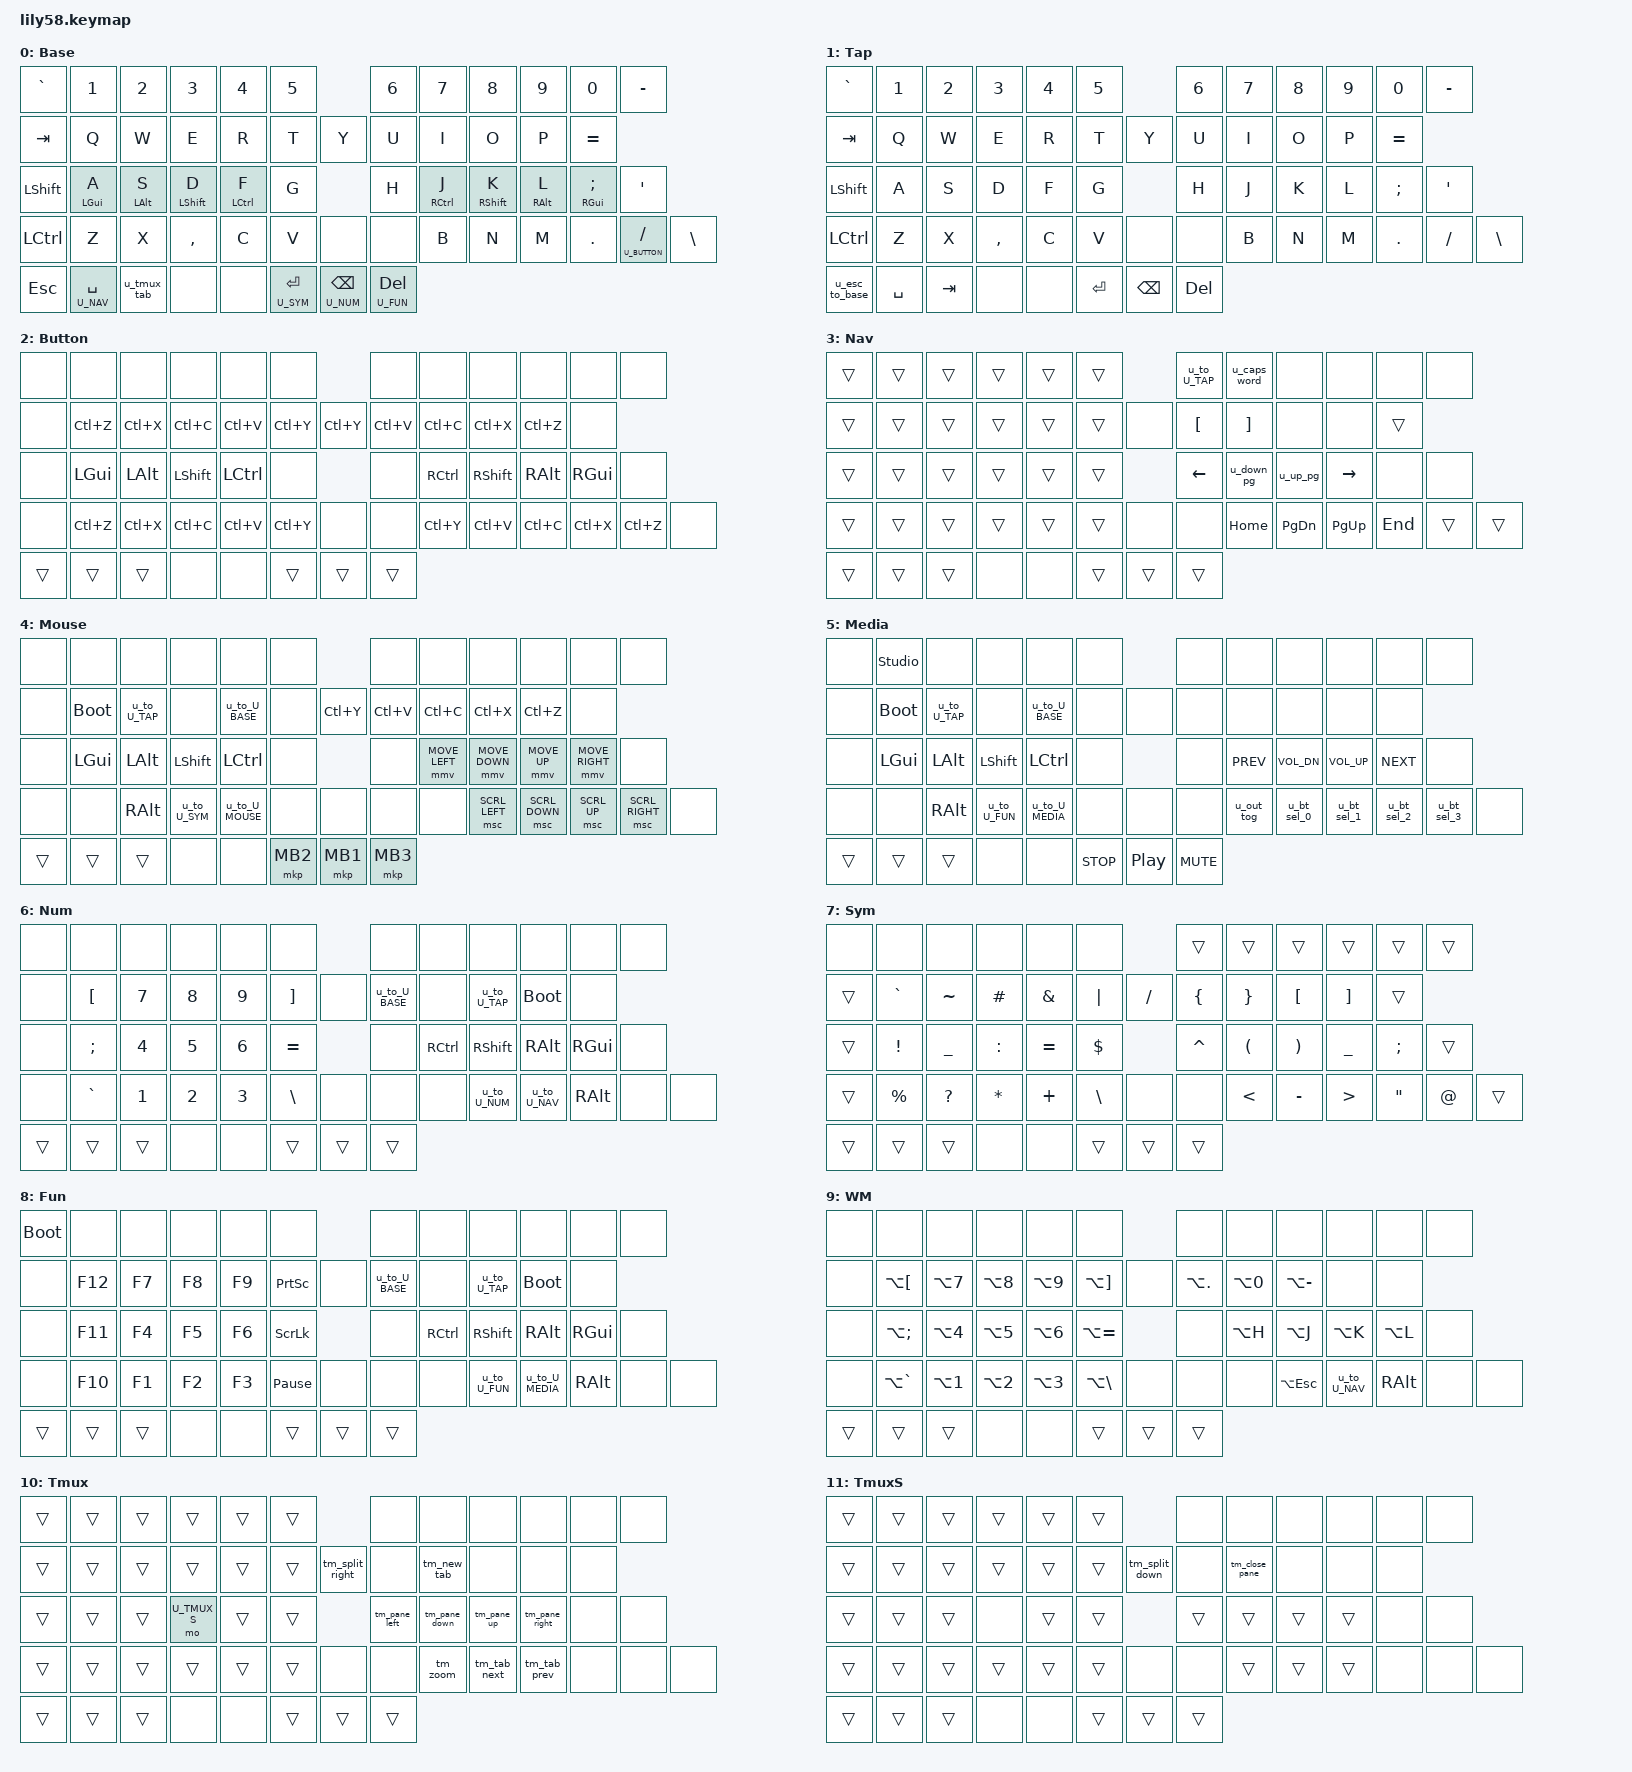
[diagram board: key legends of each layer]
/*
 * Silakka54 (built as the upstream ZMK lily58 shield) — QWERTY, GASC
 * home-row mods. Mirrors config/eyelash_sofle.keymap: same layers 0–11 at
 * the same indices (including TMUX_S), same behaviors and macros, same
 * bindings wherever the key exists on this board.
 *
 * lily58 matrix, 58 positions per layer:
 *   Rows 0–2: 6 left + 6 right = 12
 *   Row 3:    6 left + 2 inner + 6 right = 14
 *   Row 4:    4 left thumbs + 4 right thumbs = 8
 * Silakka54 has 54 keys. The 2 inner row-3 keys and the innermost thumb on
 * each side are not fitted, so those 4 slots are &none on every layer.
 *
 * Thumbs, left outer→inner, then right inner→outer:
 *   Esc, Space/Nav, Tab/Tmux, (missing) | (missing), Enter/Sym, Backspace/Num, Del/Fun
 *
 * Tradeoffs against the Sofle (64 keys, encoder, 5-way hat, 5 thumbs a side):
 *   - Hat column (arrows on Base/Tap, mouse move on Mouse/Eye*, hat click):
 *     dropped. Arrows are on Nav (hold Space); mouse movement is on Mouse.
 *   - Encoder (click = mute, rotate = volume, scroll on Mouse): dropped.
 *     Volume is on Media's right home row; Media's right thumbs are
 *     Stop / Play-Pause / Mute (from the old Lily58 keymap).
 *   - Two spare (&none) left outer thumbs: dropped. Esc, Space/Nav and
 *     Tab/Tmux keep their Sofle order on the three fitted left thumbs.
 *   - Eyelash 1 / Eyelash 2 thumbs and Sofle layers 12–13 (vendor F-keys, RGB,
 *     mouse clicks, BT, reset): dropped; this board has no thumb for them
 *     and no RGB. F-keys are on Fun, BT/output on Media, bootloader on
 *     Fun/Num/Mouse/Media.
 *   - Mouse clicks came from the Eyelash layers on the Sofle. Here Mouse's
 *     right thumbs are Button 2 / Button 1 / Button 3 (from the old Lily58
 *     keymap) so the mouse layer is usable without them.
 *   - No sensor-bindings on any layer (no encoder enabled on this build).
 *
 * TMUX layer (hold Tab): every action is the Ctrl-b prefix plus a key —
 * H/J/K/L panes (prefix+arrows), Y split right, I new tab, B zoom, N/M next/previous tab.
 * Hold home-row D while on TMUX, or hold D then Tab, for TMUX_S
 * (Y split down, I close pane). Base D+Tab tap remains Shift+Tab.
 *
 * Clipboard macros send Ctrl.
 */

#include <behaviors.dtsi>
#include <behaviors/mouse_keys.dtsi>
#include <dt-bindings/zmk/keys.h>
#include <dt-bindings/zmk/bt.h>
#include <dt-bindings/zmk/outputs.h>
#include <dt-bindings/zmk/pointing.h>

/* ── Layer indices ─────────────────────────────────────────────── */
#define U_BASE   0
#define U_TAP    1
#define U_BUTTON 2
#define U_NAV    3
#define U_MOUSE  4
#define U_MEDIA  5
#define U_NUM    6
#define U_SYM    7
#define U_FUN    8
#define U_WM     9
#define U_TMUX   10
#define U_TMUX_S 11

/* ── Mouse defaults ────────────────────────────────────────────── */
#define ZMK_POINTING_DEFAULT_MOVE_VAL 1250
#define ZMK_POINTING_DEFAULT_SCRL_VAL 100

/* ── Clipboard (Windows) ───────────────────────────────────────── */
#define U_RDO &kp LC(Y)
#define U_PST &kp LC(V)
#define U_CPY &kp LC(C)
#define U_CUT &kp LC(X)
#define U_UND &kp LC(Z)

/* ── Mouse key aliases ─────────────────────────────────────────── */
#define U_BTN1 &mkp MB1
#define U_BTN2 &mkp MB2
#define U_BTN3 &mkp MB3
#define U_MS_D &mmv MOVE_DOWN
#define U_MS_L &mmv MOVE_LEFT
#define U_MS_R &mmv MOVE_RIGHT
#define U_MS_U &mmv MOVE_UP
#define U_WH_D &msc SCRL_DOWN
#define U_WH_L &msc SCRL_LEFT
#define U_WH_R &msc SCRL_RIGHT
#define U_WH_U &msc SCRL_UP

/* ── Mouse movement tuning ─────────────────────────────────────── */
&mmv {
    acceleration-exponent = <1>;
    time-to-max-speed-ms = <1500>;
    delay-ms = <0>;
};

/* ── Macros ────────────────────────────────────────────────────── */
/ {
    macros {
        u_macro_u_bt_sel_0: u_macro_u_bt_sel_0 {
            compatible = "zmk,behavior-macro";
            #binding-cells = <0>;
            wait-ms = <0>;
            bindings = <&bt BT_SEL 0 &bt BT_CLR>;
        };
        u_macro_u_bt_sel_1: u_macro_u_bt_sel_1 {
            compatible = "zmk,behavior-macro";
            #binding-cells = <0>;
            wait-ms = <0>;
            bindings = <&bt BT_SEL 1 &bt BT_CLR>;
        };
        u_macro_u_bt_sel_2: u_macro_u_bt_sel_2 {
            compatible = "zmk,behavior-macro";
            #binding-cells = <0>;
            wait-ms = <0>;
            bindings = <&bt BT_SEL 2 &bt BT_CLR>;
        };
        u_macro_u_bt_sel_3: u_macro_u_bt_sel_3 {
            compatible = "zmk,behavior-macro";
            #binding-cells = <0>;
            wait-ms = <0>;
            bindings = <&bt BT_SEL 3 &bt BT_CLR>;
        };
        u_macro_u_bt_sel_4: u_macro_u_bt_sel_4 {
            compatible = "zmk,behavior-macro";
            #binding-cells = <0>;
            wait-ms = <0>;
            bindings = <&bt BT_SEL 4 &bt BT_CLR>;
        };

        /* TMUX layer — tmux actions. Every binding is the Ctrl-b prefix plus
           one key, sent as two separate taps: tmux wants the prefix RELEASED
           before the action key, so these must never be a three-key chord.
           40/40 is a starting point — if the prefix is swallowed, raise it
           (80–120). */
        /* Pane focus: prefix+arrows (LEFT/DOWN/UP/RIGHT). Physical H/J/K/L. */
        tm_pane_left: tm_pane_left {
            compatible = "zmk,behavior-macro";
            #binding-cells = <0>;
            wait-ms = <40>;
            tap-ms = <40>;
            bindings = <&kp LC(B) &kp LEFT>;
        };
        tm_pane_down: tm_pane_down {
            compatible = "zmk,behavior-macro";
            #binding-cells = <0>;
            wait-ms = <40>;
            tap-ms = <40>;
            bindings = <&kp LC(B) &kp DOWN>;
        };
        tm_pane_up: tm_pane_up {
            compatible = "zmk,behavior-macro";
            #binding-cells = <0>;
            wait-ms = <40>;
            tap-ms = <40>;
            bindings = <&kp LC(B) &kp UP>;
        };
        tm_pane_right: tm_pane_right {
            compatible = "zmk,behavior-macro";
            #binding-cells = <0>;
            wait-ms = <40>;
            tap-ms = <40>;
            bindings = <&kp LC(B) &kp RIGHT>;
        };
        /* Split right: prefix+% (tmux default; % is Shift+5, LS(N5)). */
        tm_split_right: tm_split_right {
            compatible = "zmk,behavior-macro";
            #binding-cells = <0>;
            wait-ms = <40>;
            tap-ms = <40>;
            bindings = <&kp LC(B) &kp LS(N5)>;
        };
        /* Split down: prefix+" (tmux default; " is Shift+', LS(SQT)). LS is pressed by the macro itself. */
        tm_split_down: tm_split_down {
            compatible = "zmk,behavior-macro";
            #binding-cells = <0>;
            wait-ms = <40>;
            tap-ms = <40>;
            bindings = <&kp LC(B) &kp LS(SQT)>;
        };
        /* New tab: prefix+c. */
        tm_new_tab: tm_new_tab {
            compatible = "zmk,behavior-macro";
            #binding-cells = <0>;
            wait-ms = <40>;
            tap-ms = <40>;
            bindings = <&kp LC(B) &kp C>;
        };
        /* Close pane: prefix+x. */
        tm_close_pane: tm_close_pane {
            compatible = "zmk,behavior-macro";
            #binding-cells = <0>;
            wait-ms = <40>;
            tap-ms = <40>;
            bindings = <&kp LC(B) &kp X>;
        };
        /* Zoom pane: prefix+z. */
        tm_zoom: tm_zoom {
            compatible = "zmk,behavior-macro";
            #binding-cells = <0>;
            wait-ms = <40>;
            tap-ms = <40>;
            bindings = <&kp LC(B) &kp Z>;
        };
        /* Next tab: prefix+n. */
        tm_tab_next: tm_tab_next {
            compatible = "zmk,behavior-macro";
            #binding-cells = <0>;
            wait-ms = <40>;
            tap-ms = <40>;
            bindings = <&kp LC(B) &kp N>;
        };
        /* Previous tab: prefix+p. */
        tm_tab_prev: tm_tab_prev {
            compatible = "zmk,behavior-macro";
            #binding-cells = <0>;
            wait-ms = <40>;
            tap-ms = <40>;
            bindings = <&kp LC(B) &kp P>;
        };
    };
};

/* ── Behaviors ─────────────────────────────────────────────────── */
/ {
    behaviors {
        /* Home-row mods. Balanced: hold if other key pressed+released while held; alone timeout still hold. */
        u_mt: u_mt {
            compatible = "zmk,behavior-hold-tap";
            #binding-cells = <2>;
            tapping-term-ms = <250>;
            require-prior-idle-ms = <120>;
            flavor = "balanced";
            bindings = <&kp>, <&kp>;
        };

        /* Hold = momentary layer, tap = key. */
        u_lt: u_lt {
            compatible = "zmk,behavior-hold-tap";
            #binding-cells = <2>;
            tapping-term-ms = <250>;
            require-prior-idle-ms = <120>;
            flavor = "tap-preferred";
            bindings = <&mo>, <&kp>;
        };

        /* Tab/TMUX entry. Unshifted: hold TMUX, tap Tab. With Shift already
           held: hold TMUX_S (Shift masked for the hold), tap Shift+Tab via
           LS(TAB). No keep-mods — masking is required to stop D-then-Tab-hold
           from leaking LSHFT into Ctrl-b macros. */
        u_tmux_tab: u_tmux_tab {
            compatible = "zmk,behavior-mod-morph";
            #binding-cells = <0>;
            bindings = <&u_lt U_TMUX TAB>, <&u_lt U_TMUX_S LS(TAB)>;
            mods = <(MOD_LSFT|MOD_RSFT)>;
        };

        u_bt_sel_0: u_bt_sel_0 {
            compatible = "zmk,behavior-mod-morph";
            #binding-cells = <0>;
            bindings = <&bt BT_SEL 0>, <&u_macro_u_bt_sel_0>;
            mods = <(MOD_LSFT|MOD_RSFT)>;
        };
        u_bt_sel_1: u_bt_sel_1 {
            compatible = "zmk,behavior-mod-morph";
            #binding-cells = <0>;
            bindings = <&bt BT_SEL 1>, <&u_macro_u_bt_sel_1>;
            mods = <(MOD_LSFT|MOD_RSFT)>;
        };
        u_bt_sel_2: u_bt_sel_2 {
            compatible = "zmk,behavior-mod-morph";
            #binding-cells = <0>;
            bindings = <&bt BT_SEL 2>, <&u_macro_u_bt_sel_2>;
            mods = <(MOD_LSFT|MOD_RSFT)>;
        };
        u_bt_sel_3: u_bt_sel_3 {
            compatible = "zmk,behavior-mod-morph";
            #binding-cells = <0>;
            bindings = <&bt BT_SEL 3>, <&u_macro_u_bt_sel_3>;
            mods = <(MOD_LSFT|MOD_RSFT)>;
        };
        u_bt_sel_4: u_bt_sel_4 {
            compatible = "zmk,behavior-mod-morph";
            #binding-cells = <0>;
            bindings = <&bt BT_SEL 4>, <&u_macro_u_bt_sel_4>;
            mods = <(MOD_LSFT|MOD_RSFT)>;
        };

        u_out_tog: u_out_tog {
            compatible = "zmk,behavior-mod-morph";
            #binding-cells = <0>;
            bindings = <&out OUT_TOG>, <&out OUT_USB>;
            mods = <(MOD_LSFT|MOD_RSFT)>;
        };

        u_caps_word: u_caps_word {
            compatible = "zmk,behavior-mod-morph";
            #binding-cells = <0>;
            bindings = <&caps_word>, <&kp CAPS>;
            mods = <(MOD_LSFT|MOD_RSFT)>;
        };

        /* Up, or Page Up while Alt is held (Alt is not sent). */
        u_up_pg: u_up_pg {
            compatible = "zmk,behavior-mod-morph";
            #binding-cells = <0>;
            bindings = <&kp UP>, <&kp PG_UP>;
            mods = <(MOD_LALT|MOD_RALT)>;
        };
        /* Down, or Page Down while Alt is held (Alt is not sent). */
        u_down_pg: u_down_pg {
            compatible = "zmk,behavior-mod-morph";
            #binding-cells = <0>;
            bindings = <&kp DOWN>, <&kp PG_DN>;
            mods = <(MOD_LALT|MOD_RALT)>;
        };

        /* Double-tap guards: require a second tap to lock a layer. */
        u_to_U_BASE: u_to_U_BASE {
            compatible = "zmk,behavior-tap-dance";
            #binding-cells = <0>;
            tapping-term-ms = <200>;
            bindings = <&none>, <&to U_BASE>;
        };
        u_to_U_TAP: u_to_U_TAP {
            compatible = "zmk,behavior-tap-dance";
            #binding-cells = <0>;
            tapping-term-ms = <200>;
            bindings = <&none>, <&to U_TAP>;
        };
        u_to_U_BUTTON: u_to_U_BUTTON {
            compatible = "zmk,behavior-tap-dance";
            #binding-cells = <0>;
            tapping-term-ms = <200>;
            bindings = <&none>, <&to U_BUTTON>;
        };
        u_to_U_NAV: u_to_U_NAV {
            compatible = "zmk,behavior-tap-dance";
            #binding-cells = <0>;
            tapping-term-ms = <200>;
            bindings = <&none>, <&to U_NAV>;
        };
        u_to_U_MOUSE: u_to_U_MOUSE {
            compatible = "zmk,behavior-tap-dance";
            #binding-cells = <0>;
            tapping-term-ms = <200>;
            bindings = <&none>, <&to U_MOUSE>;
        };
        u_to_U_MEDIA: u_to_U_MEDIA {
            compatible = "zmk,behavior-tap-dance";
            #binding-cells = <0>;
            tapping-term-ms = <200>;
            bindings = <&none>, <&to U_MEDIA>;
        };
        u_to_U_NUM: u_to_U_NUM {
            compatible = "zmk,behavior-tap-dance";
            #binding-cells = <0>;
            tapping-term-ms = <200>;
            bindings = <&none>, <&to U_NUM>;
        };
        u_to_U_SYM: u_to_U_SYM {
            compatible = "zmk,behavior-tap-dance";
            #binding-cells = <0>;
            tapping-term-ms = <200>;
            bindings = <&none>, <&to U_SYM>;
        };
        u_to_U_FUN: u_to_U_FUN {
            compatible = "zmk,behavior-tap-dance";
            #binding-cells = <0>;
            tapping-term-ms = <200>;
            bindings = <&none>, <&to U_FUN>;
        };
        u_to_U_WM: u_to_U_WM {
            compatible = "zmk,behavior-tap-dance";
            #binding-cells = <0>;
            tapping-term-ms = <200>;
            bindings = <&none>, <&to U_WM>;
        };

        /* Esc tap, double-tap leaves the Tap layer. */
        u_esc_to_base: u_esc_to_base {
            compatible = "zmk,behavior-tap-dance";
            #binding-cells = <0>;
            tapping-term-ms = <200>;
            bindings = <&kp ESC>, <&to U_BASE>;
        };
    };
};

/ {
    keymap {
        compatible = "zmk,keymap";

        /* 0: BASE — QWERTY, GASC on the home row. */
        BASE {
            display-name = "Base";
            bindings = <
&kp GRAVE &kp N1 &kp N2 &kp N3 &kp N4 &kp N5  &kp N6 &kp N7 &kp N8 &kp N9 &kp N0 &kp MINUS
&kp TAB &kp Q &kp W &kp E &kp R &kp T  &kp Y &kp U &kp I &kp O &kp P &kp EQUAL
&kp LSHFT &u_mt LGUI A &u_mt LALT S &u_mt LSHFT D &u_mt LCTRL F &kp G  &kp H &u_mt RCTRL J &u_mt RSHFT K &u_mt RALT L &u_mt RGUI SEMI &kp SQT
&kp LCTRL &kp Z &kp X &kp COMMA &kp C &kp V  &none &none  &kp B &kp N &kp M &kp DOT &u_lt U_BUTTON SLASH &kp BSLH
&kp ESC &u_lt U_NAV SPACE &u_tmux_tab  &none &none  &u_lt U_SYM RET &u_lt U_NUM BSPC &u_lt U_FUN DEL
            >;
        };

        /* 1: TAP — same QWERTY letters, no hold-taps. Double-tap Esc returns to Base. */
        TAP {
            display-name = "Tap";
            bindings = <
&kp GRAVE &kp N1 &kp N2 &kp N3 &kp N4 &kp N5  &kp N6 &kp N7 &kp N8 &kp N9 &kp N0 &kp MINUS
&kp TAB &kp Q &kp W &kp E &kp R &kp T  &kp Y &kp U &kp I &kp O &kp P &kp EQUAL
&kp LSHFT &kp A &kp S &kp D &kp F &kp G  &kp H &kp J &kp K &kp L &kp SEMI &kp SQT
&kp LCTRL &kp Z &kp X &kp COMMA &kp C &kp V  &none &none  &kp B &kp N &kp M &kp DOT &kp SLASH &kp BSLH
&u_esc_to_base &kp SPACE &kp TAB  &none &none  &kp RET &kp BSPC &kp DEL
            >;
        };

        /* 2: BUTTON — clipboard. Thumbs fall through to Base. */
        BUTTON {
            display-name = "Button";
            bindings = <
&none &none &none &none &none &none  &none &none &none &none &none &none
&none U_UND U_CUT U_CPY U_PST U_RDO  U_RDO U_PST U_CPY U_CUT U_UND &none
&none &kp LGUI &kp LALT &kp LSHFT &kp LCTRL &none  &none &kp RCTRL &kp RSHFT &kp RALT &kp RGUI &none
&none U_UND U_CUT U_CPY U_PST U_RDO  &none &none  U_RDO U_PST U_CPY U_CUT U_UND &none
&trans &trans &trans  &none &none  &trans &trans &trans
            >;
        };

        /* 3: NAV — hold Space. */
        NAV {
            display-name = "Nav";
            bindings = <
&trans &trans &trans &trans &trans &trans  &u_to_U_TAP &u_caps_word &none &none &none &none
&trans &trans &trans &trans &trans &trans  &none &kp LBKT &kp RBKT &none &none &trans
&trans &trans &trans &trans &trans &trans  &kp LEFT &u_down_pg &u_up_pg &kp RIGHT &none &none
&trans &trans &trans &trans &trans &trans  &none &none  &kp HOME &kp PG_DN &kp PG_UP &kp END &trans &trans
&trans &trans &trans  &none &none  &trans &trans &trans
            >;
        };

        /* 4: MOUSE — right thumbs are mouse buttons here (Sofle: Eyelash layers). */
        MOUSE {
            display-name = "Mouse";
            bindings = <
&none &none &none &none &none &none  &none &none &none &none &none &none
&none &bootloader &u_to_U_TAP &none &u_to_U_BASE &none  U_RDO U_PST U_CPY U_CUT U_UND &none
&none &kp LGUI &kp LALT &kp LSHFT &kp LCTRL &none  &none U_MS_L U_MS_D U_MS_U U_MS_R &none
&none &none &kp RALT &u_to_U_SYM &u_to_U_MOUSE &none  &none &none  &none U_WH_L U_WH_D U_WH_U U_WH_R &none
&trans &trans &trans  &none &none  U_BTN2 U_BTN1 U_BTN3
            >;
        };

        /* 5: MEDIA — Bluetooth, output, studio unlock. Right thumbs replace the encoder. */
        MEDIA {
            display-name = "Media";
            bindings = <
&none &studio_unlock &none &none &none &none  &none &none &none &none &none &none
&none &bootloader &u_to_U_TAP &none &u_to_U_BASE &none  &none &none &none &none &none &none
&none &kp LGUI &kp LALT &kp LSHFT &kp LCTRL &none  &none &kp C_PREV &kp C_VOL_DN &kp C_VOL_UP &kp C_NEXT &none
&none &none &kp RALT &u_to_U_FUN &u_to_U_MEDIA &none  &none &none  &u_out_tog &u_bt_sel_0 &u_bt_sel_1 &u_bt_sel_2 &u_bt_sel_3 &none
&trans &trans &trans  &none &none  &kp C_STOP &kp C_PP &kp C_MUTE
            >;
        };

        /* 6: NUM */
        NUM {
            display-name = "Num";
            bindings = <
&none &none &none &none &none &none  &none &none &none &none &none &none
&none &kp LBKT &kp N7 &kp N8 &kp N9 &kp RBKT  &none &u_to_U_BASE &none &u_to_U_TAP &bootloader &none
&none &kp SEMI &kp N4 &kp N5 &kp N6 &kp EQUAL  &none &kp RCTRL &kp RSHFT &kp RALT &kp RGUI &none
&none &kp GRAVE &kp N1 &kp N2 &kp N3 &kp BSLH  &none &none  &none &u_to_U_NUM &u_to_U_NAV &kp RALT &none &none
&trans &trans &trans  &none &none  &trans &trans &trans
            >;
        };

        /* 7: SYM — bilateral 3x5 freeze (hold Enter) */
        SYM {
            display-name = "Sym";
            bindings = <
&none &none &none &none &none &none  &trans &trans &trans &trans &trans &trans
&trans &kp GRAVE &kp TILDE &kp HASH &kp AMPS &kp PIPE  &kp SLASH &kp LBRC &kp RBRC &kp LBKT &kp RBKT &trans
&trans &kp EXCL &kp UNDER &kp COLON &kp EQUAL &kp DLLR  &kp CARET &kp LPAR &kp RPAR &kp UNDER &kp SEMI &trans
&trans &kp PRCNT &kp QMARK &kp ASTRK &kp PLUS &kp BSLH  &none &none  &kp LT &kp MINUS &kp GT &kp DQT &kp AT &trans
&trans &trans &trans  &none &none  &trans &trans &trans
            >;
        };

        /* 8: FUN — held on Delete. */
        FUN {
            display-name = "Fun";
            bindings = <
&bootloader &none &none &none &none &none  &none &none &none &none &none &none
&none &kp F12 &kp F7 &kp F8 &kp F9 &kp PSCRN  &none &u_to_U_BASE &none &u_to_U_TAP &bootloader &none
&none &kp F11 &kp F4 &kp F5 &kp F6 &kp SLCK  &none &kp RCTRL &kp RSHFT &kp RALT &kp RGUI &none
&none &kp F10 &kp F1 &kp F2 &kp F3 &kp PAUSE_BREAK  &none &none  &none &u_to_U_FUN &u_to_U_MEDIA &kp RALT &none &none
&trans &trans &trans  &none &none  &trans &trans &trans
            >;
        };

        /* 9: WM — AeroSpace. No key opens this layer yet. */
        WM {
            display-name = "WM";
            bindings = <
&none &none &none &none &none &none  &none &none &none &none &none &none
&none &kp LA(LBKT) &kp LA(N7) &kp LA(N8) &kp LA(N9) &kp LA(RBKT)  &none &kp LA(DOT) &kp LA(N0) &kp LA(MINUS) &none &none
&none &kp LA(SEMI) &kp LA(N4) &kp LA(N5) &kp LA(N6) &kp LA(EQUAL)  &none &kp LA(H) &kp LA(J) &kp LA(K) &kp LA(L) &none
&none &kp LA(GRAVE) &kp LA(N1) &kp LA(N2) &kp LA(N3) &kp LA(BSLH)  &none &none  &none &kp LA(ESC) &u_to_U_NAV &kp RALT &none &none
&trans &trans &trans  &none &none  &trans &trans &trans
            >;
        };

        /* 10: TMUX — tmux actions, each Ctrl-b prefix + key. Hold Tab. Left hand
           falls through, so typing continues. H/J/K/L send prefix+arrows for pane
           focus, Y splits right, I opens a tab, B zooms, N/M go to next/previous tab.
           Hold home-row D for TMUX_S; D then hold Tab also enters TMUX_S. Everything else is none. */
        TMUX {
            display-name = "Tmux";
            bindings = <
&trans &trans &trans &trans &trans &trans  &none &none &none &none &none &none
&trans &trans &trans &trans &trans &trans  &tm_split_right &none &tm_new_tab &none &none &none
&trans &trans &trans &mo U_TMUX_S &trans &trans  &tm_pane_left &tm_pane_down &tm_pane_up &tm_pane_right &none &none
&trans &trans &trans &trans &trans &trans  &none &none  &tm_zoom &tm_tab_next &tm_tab_prev &none &none &none
&trans &trans &trans  &none &none  &trans &trans &trans
            >;
        };

        /* 11: TMUX_S — from TMUX via home-row D, or D-then-Tab hold; Y split down, I close pane. */
        TMUX_S {
            display-name = "TmuxS";
            bindings = <
&trans &trans &trans &trans &trans &trans  &none &none &none &none &none &none
&trans &trans &trans &trans &trans &trans  &tm_split_down &none &tm_close_pane &none &none &none
&trans &trans &trans &none &trans &trans  &trans &trans &trans &trans &none &none
&trans &trans &trans &trans &trans &trans  &none &none  &trans &trans &trans &none &none &none
&trans &trans &trans  &none &none  &trans &trans &trans
            >;
        };
    };
};
